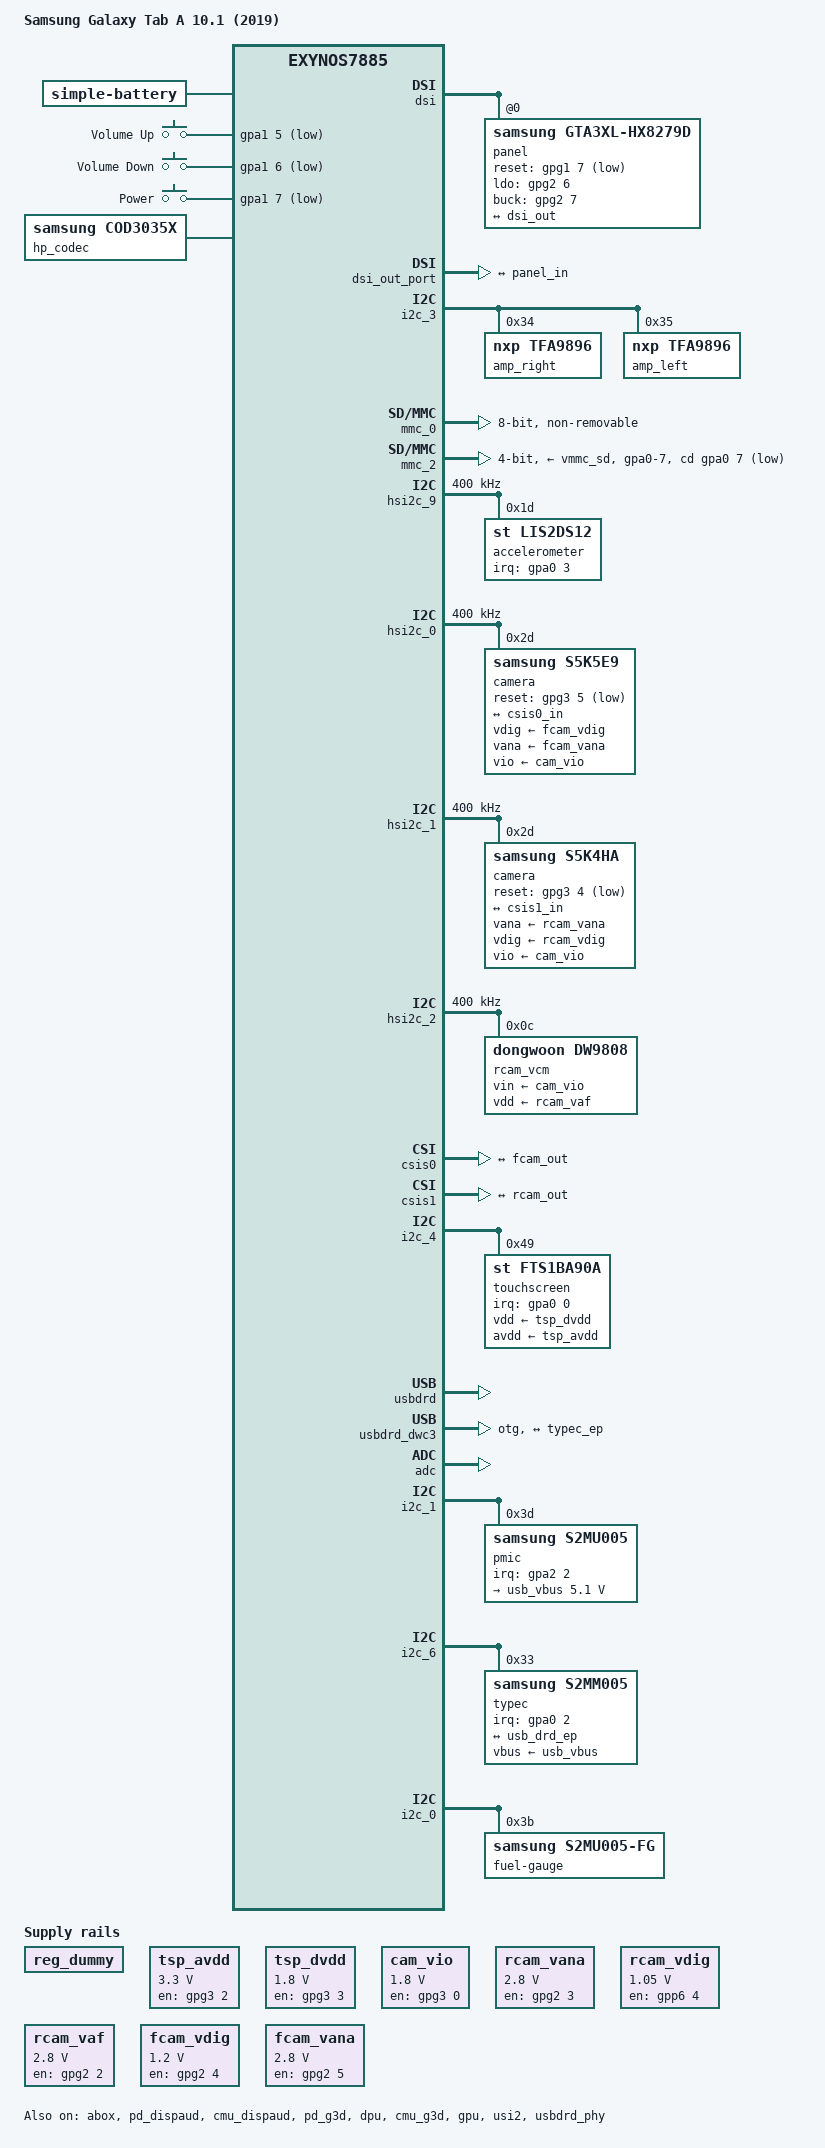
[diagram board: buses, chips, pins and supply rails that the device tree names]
// SPDX-License-Identifier: GPL-2.0
/dts-v1/;
#include "exynos7885.dtsi"
#include <dt-bindings/gpio/gpio.h>
#include <dt-bindings/input/input.h>
#include <dt-bindings/interrupt-controller/irq.h>
#include <dt-bindings/soc/samsung,exynos-usi.h>

/ {
	model = "Samsung Galaxy Tab A 10.1 (2019)";
	compatible = "samsung,t510", "samsung,exynos7885";
	chassis-type = "handset";

	aliases {
		mmc0 = &mmc_0;
		mmc2 = &mmc_2;
	};

	chosen {
		#address-cells = <2>;
		#size-cells = <1>;
		ranges;
		
		bootargs = "pmos.nosplash exynos7885.dispaud=1 cma=128M";

		/* The bootloader loads the boot.img ramdisk at 0x89000000, and
		 * uniLoader copies the kernel to 0x90000000. The archive's real
		 * size is not passed on, so give the initramfs everything up to
		 * 0x8c000000 (48 MiB): a shorter window truncates it, and /init
		 * then fails on a missing file. Bytes after the archive only log
		 * "Initramfs unpacking failed".
		 */
		linux,initrd-start = <0x89000000>;
		linux,initrd-end = <0x8c000000>;

		stdout-path = "fb0";

		fb0: framebuffer@ec000000 {
			compatible = "simple-framebuffer";
			reg = <0x0 0xec000000 (1200 * 1920 * 4)>;
			width = <1200>;
			height = <1920>;
			stride = <(1200 * 4)>;
			/* DECON ignores the alpha byte (checked on the panel), and
			 * matching X's XRGB8888 makes simpledrm's updates a memcpy.
			 */
			format = "x8r8g8b8";
		};
	};

	wifibt@120c0000 {
		compatible = "samsung,exynos7885-wifibt";
		reg = <0x0 0x120c0000 0x180>, <0x0 0x120e0000 0x180>,
		      <0x0 0x12080000 0x180>;
		reg-names = "r4", "m4", "cp";
		interrupts = <GIC_SPI 57 IRQ_TYPE_LEVEL_HIGH>,
			     <GIC_SPI 21 IRQ_TYPE_LEVEL_HIGH>,
			     <GIC_SPI 286 IRQ_TYPE_LEVEL_HIGH>;
		interrupt-names = "mbox", "alive", "watchdog";
		samsung,pmu-syscon = <&pmu_system_controller>;
		memory-region = <&wifibt_if>;
	};

	battery: battery {
		compatible = "simple-battery";
		/* 4.35 V pack; initial bring-up limits charge current to 1 A. */
		constant-charge-voltage-max-microvolt = <4350000>;
		constant-charge-current-max-microamp = <1000000>;
		charge-term-current-microamp = <200000>;
	};

	reserved-memory {
		#address-cells = <2>;
		#size-cells = <1>;
		ranges;

		/* Exynos Characteristic Table left by the bootloader: per-chip
		 * DVFS voltage tables, kept for the GPU/CPU DVFS work.
		 */
		ect@90000000 {
			reg = <0x0 0x90000000 0x19000>;
			no-map;
		};

		/* The bootloader framebuffer. The DPU keeps scanning it out
		 * after its System MMU is enabled, so it is identity-mapped.
		 */
		fb_region: framebuffer_region@ec000000 {
			reg = <0x0 0xec000000 (1200 * 1920 * 4)>;
			iommu-addresses = <&dpu 0xec000000 (1200 * 1920 * 4)>;
			no-map;
		};

		wifibt_if: memory@e9000000 {
			reg = <0x0 0xe9000000 0x400000>;
			no-map;
		};

		abox_rmem: memory@e9400000 {
			reg = <0x0 0xe9400000 0xc00000>;
			no-map;
		};

		/* 128 KiB fixed ABOX RDMA0 playback ring. */
		abox_pcm_rmem: memory@ea000000 {
			reg = <0x0 0xea000000 0x20000>;
			no-map;
		};

		ramoops@c0000000 {
                    #address-cells = <2>;
                    #size-cells = <1>;
                    compatible = "ramoops";
                    reg = <0x00000000 0xc0000000 0x00100000>; // 1MB at 0xc0000000
                    record-size = <0x10000>;  // 64KB per record
                    console-size = <0x10000>; // 64KB for console logs
                    pmsg-size = <0x1000>;     // 4KB for user messages
                };

	};
	
	/* TODO: Remove this once PMIC is implemented  */
	reg_dummy: regulator-0 {
		compatible = "regulator-fixed";
		regulator-name = "dummy_reg";
	};
	

	memory@80000000 {
		device_type = "memory";
		reg = <0x0 0x80000000 0x3bc00000>,
		      <0x0 0xc0000000 0x40000000>;
	};

	/* Same key wiring as the vendor T510 DT (and jackpotlte). */
	gpio-keys {
		compatible = "gpio-keys";
		pinctrl-names = "default";
		pinctrl-0 = <&key_volup &key_voldown &key_power>;

		volup-key {
			label = "Volume Up";
			linux,code = <KEY_VOLUMEUP>;
			gpios = <&gpa1 5 GPIO_ACTIVE_LOW>;
		};

		voldown-key {
			label = "Volume Down";
			linux,code = <KEY_VOLUMEDOWN>;
			gpios = <&gpa1 6 GPIO_ACTIVE_LOW>;
		};

		power-key {
			label = "Power";
			linux,code = <KEY_POWER>;
			gpios = <&gpa1 7 GPIO_ACTIVE_LOW>;
			wakeup-source;
		};
	};

	tsp_avdd: tsp_avdd {
		compatible = "regulator-fixed";
		regulator-name = "tsp_avdd";
		regulator-min-microvolt = <3300000>;
		regulator-max-microvolt = <3300000>;
		gpio = <&gpg3 2 GPIO_ACTIVE_HIGH>;
		enable-active-high;
		regulator-boot-on;
		startup-delay-us = <100000>;
	};

	tsp_dvdd: tsp_dvdd {
		compatible = "regulator-fixed";
		regulator-name = "tsp_dvdd";
		regulator-min-microvolt = <1800000>;
		regulator-max-microvolt = <1800000>;
		gpio = <&gpg3 3 GPIO_ACTIVE_HIGH>;
		enable-active-high;
		regulator-boot-on;
		startup-delay-us = <100000>;
	};

	/* Camera supplies, all switched by GPIOs (Samsung's power sequence) */
	cam_vio: regulator-cam-vio {
		compatible = "regulator-fixed";
		regulator-name = "cam_vio_1v8";
		regulator-min-microvolt = <1800000>;
		regulator-max-microvolt = <1800000>;
		gpio = <&gpg3 0 GPIO_ACTIVE_HIGH>;
		enable-active-high;
	};

	rcam_vana: regulator-rcam-vana {
		compatible = "regulator-fixed";
		regulator-name = "rcam_vana_2v8";
		regulator-min-microvolt = <2800000>;
		regulator-max-microvolt = <2800000>;
		gpio = <&gpg2 3 GPIO_ACTIVE_HIGH>;
		enable-active-high;
	};

	rcam_vdig: regulator-rcam-vdig {
		compatible = "regulator-fixed";
		regulator-name = "rcam_vdig";
		regulator-min-microvolt = <1050000>;
		regulator-max-microvolt = <1050000>;
		gpio = <&gpp6 4 GPIO_ACTIVE_HIGH>;
		enable-active-high;
	};

	rcam_vaf: regulator-rcam-vaf {
		compatible = "regulator-fixed";
		regulator-name = "rcam_vaf_2v8";
		regulator-min-microvolt = <2800000>;
		regulator-max-microvolt = <2800000>;
		gpio = <&gpg2 2 GPIO_ACTIVE_HIGH>;
		enable-active-high;
	};

	fcam_vdig: regulator-fcam-vdig {
		compatible = "regulator-fixed";
		regulator-name = "fcam_vdig_1v2";
		regulator-min-microvolt = <1200000>;
		regulator-max-microvolt = <1200000>;
		gpio = <&gpg2 4 GPIO_ACTIVE_HIGH>;
		enable-active-high;
	};

	fcam_vana: regulator-fcam-vana {
		compatible = "regulator-fixed";
		regulator-name = "fcam_vana_2v8";
		regulator-min-microvolt = <2800000>;
		regulator-max-microvolt = <2800000>;
		gpio = <&gpg2 5 GPIO_ACTIVE_HIGH>;
		enable-active-high;
	};
};


&abox {
	status = "okay";
	memory-region = <&abox_rmem>, <&abox_pcm_rmem>;
	/* Stock bootargs; vss=0: no modem voice buffer on this WiFi model. */
	samsung,bootargs = "init=ab0x vss=0";
	samsung,bootargs-offset = <0x22e00>;
	pinctrl-names = "active", "idle";
	pinctrl-0 = <&aud_codec_mclk &aud_codec_bus &aud_spk_bus &aud_loopback_bus>;
	pinctrl-1 = <&aud_codec_mclk_idle &aud_codec_bus_idle &aud_spk_bus_idle &aud_loopback_bus_idle>;

	abox_audio: abox-audio {
		compatible = "samsung,exynos7885-abox-audio";
		/* DAI 0: UAIF3 (speaker amps), DAI 1: UAIF0 (headphone codec) */
		#sound-dai-cells = <1>;
		status = "okay";
	};

	firmware-ap-audio {
		status = "okay";
		samsung,name = "postmarketos/AP_AUDIO_SLSI.bin";
		samsung,area = <1>;
		samsung,offset = <0x7f0000>;
	};

	firmware-ap-barge-in {
		status = "okay";
		samsung,name = "postmarketos/APBargeIn_AUDIO_SLSI.bin";
		samsung,area = <1>;
		samsung,offset = <0x7ec000>;
	};
};

/* This image opts into DISPAUD clock registration through its kernel cmdline.
 * ABOX registration and firmware execution remain separately module-gated.
 */
&pd_dispaud {
	status = "okay";
};

&cmu_dispaud {
	status = "okay";
};

&sysmmu_abox {
	status = "okay";
};

&sysmmu_dpu {
	status = "okay";
};

/* The Mali-G71 scales between the OPPs below on PLL_G3D, with vdd_g3d set
 * over ACPM. The CMU_TOP switching clock (799.5 MHz / 2) carries the GPU
 * while PLL_G3D relocks.
 */
&pd_g3d {
	status = "okay";
};

/* HX8279D panel in DSI video mode, as the bootloader programs it. */
&dpu {
	memory-region = <&fb_region>;
	status = "okay";

	panel-timing {
		/* 1400 x 1964 total at 60 Hz */
		clock-frequency = <164976000>;
		hactive = <1200>;
		vactive = <1920>;
		hfront-porch = <150>;
		hback-porch = <40>;
		hsync-len = <10>;
		vfront-porch = <22>;
		vback-porch = <18>;
		vsync-len = <4>;
	};
};

&dsi {
	status = "okay";

	panel: panel@0 {
		compatible = "samsung,gta3xl-hx8279d";
		reg = <0>;
		reset-gpios = <&gpg1 7 GPIO_ACTIVE_LOW>;
		ldo-gpios = <&gpg2 6 GPIO_ACTIVE_HIGH>;
		buck-gpios = <&gpg2 7 GPIO_ACTIVE_HIGH>;

		port {
			panel_in: endpoint {
				remote-endpoint = <&dsi_out>;
			};
		};
	};
};

&dsi_out_port {
	dsi_out: endpoint {
		remote-endpoint = <&panel_in>;
	};
};

&cmu_g3d {
	/* Set before the GPU switches onto this path. */
	assigned-clocks = <&cmu_top CLK_DOUT_G3D_SWITCH>;
	assigned-clock-rates = <399750000>;
	status = "okay";
};

&gpu {
	/*
	 * Run from PLL_G3D (left at 343 MHz by the bootloader); the switching
	 * clock stays set up for parking the GPU while the PLL relocks.
	 */
	assigned-clocks = <&cmu_g3d CLK_MOUT_G3D_SWITCH_USER>,
			  <&cmu_g3d CLK_MOUT_G3D_PLL>,
			  <&cmu_g3d CLK_MOUT_G3D_BUSD>,
			  <&cmu_g3d CLK_FOUT_G3D_PLL>;
	assigned-clock-parents = <&cmu_top CLK_DOUT_G3D_SWITCH>,
				 <&cmu_g3d CLK_FOUT_G3D_PLL>,
				 <&cmu_g3d CLK_MOUT_G3D_PLL>,
				 <0>;
	assigned-clock-rates = <0>, <0>, <0>, <343000000>;
	mali-supply = <&vdd_g3d>;
	operating-points-v2 = <&gpu_opp_table>;
	status = "okay";
};

/*
 * CPU DVFS levels from the bootloader's ECT. Voltages are this chip's:
 * ASV group 7, the highest over all ECT table versions plus 25 mV, as for
 * the GPU. Both A53 clusters share BUCK3, so their levels give a range up
 * to the rail's limit and the regulator follows the higher request.
 *
 * A level change restarts the cluster PLL and sends the voltage over ACPM,
 * whose firmware may take up to 2 ms to answer. The latency also sets the
 * schedutil rate limit (1.5 times it); at 100 us the A53s changed level
 * about 200 times a second under desktop load.
 */
/ {
	cpucl0_opp_table: opp-table-cpucl0 {
		compatible = "operating-points-v2";
		opp-shared;

		opp-936000000 {
			opp-hz = /bits/ 64 <936000000>;
			opp-microvolt = <750000 750000 1050000>;
			clock-latency-ns = <2000000>;
		};

		opp-1144000000 {
			opp-hz = /bits/ 64 <1144000000>;
			opp-microvolt = <806250 806250 1050000>;
			clock-latency-ns = <2000000>;
		};

		opp-1352000000 {
			opp-hz = /bits/ 64 <1352000000>;
			opp-microvolt = <875000 875000 1050000>;
			clock-latency-ns = <2000000>;
		};

		opp-1560000000 {
			opp-hz = /bits/ 64 <1560000000>;
			opp-microvolt = <943750 943750 1050000>;
			clock-latency-ns = <2000000>;
		};

		opp-1664000000 {
			opp-hz = /bits/ 64 <1664000000>;
			opp-microvolt = <987500 987500 1050000>;
			clock-latency-ns = <2000000>;
		};

		opp-1768000000 {
			opp-hz = /bits/ 64 <1768000000>;
			opp-microvolt = <1031250 1031250 1050000>;
			clock-latency-ns = <2000000>;
		};
	};

	cpucl1_opp_table: opp-table-cpucl1 {
		compatible = "operating-points-v2";
		opp-shared;

		opp-546000000 {
			opp-hz = /bits/ 64 <546000000>;
			opp-microvolt = <687500 687500 1050000>;
			clock-latency-ns = <2000000>;
		};

		opp-676000000 {
			opp-hz = /bits/ 64 <676000000>;
			opp-microvolt = <725000 725000 1050000>;
			clock-latency-ns = <2000000>;
		};

		opp-1014000000 {
			opp-hz = /bits/ 64 <1014000000>;
			opp-microvolt = <818750 818750 1050000>;
			clock-latency-ns = <2000000>;
		};

		opp-1144000000 {
			opp-hz = /bits/ 64 <1144000000>;
			opp-microvolt = <862500 862500 1050000>;
			clock-latency-ns = <2000000>;
		};

		opp-1248000000 {
			opp-hz = /bits/ 64 <1248000000>;
			opp-microvolt = <900000 900000 1050000>;
			clock-latency-ns = <2000000>;
		};

		opp-1352000000 {
			opp-hz = /bits/ 64 <1352000000>;
			opp-microvolt = <925000 925000 1050000>;
			clock-latency-ns = <2000000>;
		};

		opp-1482000000 {
			opp-hz = /bits/ 64 <1482000000>;
			opp-microvolt = <981250 981250 1050000>;
			clock-latency-ns = <2000000>;
		};

		opp-1586000000 {
			opp-hz = /bits/ 64 <1586000000>;
			opp-microvolt = <1037500 1037500 1050000>;
			clock-latency-ns = <2000000>;
		};
	};

	cpucl2_opp_table: opp-table-cpucl2 {
		compatible = "operating-points-v2";
		opp-shared;

		opp-546000000 {
			opp-hz = /bits/ 64 <546000000>;
			opp-microvolt = <687500 687500 1050000>;
			clock-latency-ns = <2000000>;
		};

		opp-676000000 {
			opp-hz = /bits/ 64 <676000000>;
			opp-microvolt = <725000 725000 1050000>;
			clock-latency-ns = <2000000>;
		};

		opp-1014000000 {
			opp-hz = /bits/ 64 <1014000000>;
			opp-microvolt = <818750 818750 1050000>;
			clock-latency-ns = <2000000>;
		};

		opp-1144000000 {
			opp-hz = /bits/ 64 <1144000000>;
			opp-microvolt = <862500 862500 1050000>;
			clock-latency-ns = <2000000>;
		};

		opp-1248000000 {
			opp-hz = /bits/ 64 <1248000000>;
			opp-microvolt = <900000 900000 1050000>;
			clock-latency-ns = <2000000>;
		};

		opp-1352000000 {
			opp-hz = /bits/ 64 <1352000000>;
			opp-microvolt = <925000 925000 1050000>;
			clock-latency-ns = <2000000>;
		};

		opp-1482000000 {
			opp-hz = /bits/ 64 <1482000000>;
			opp-microvolt = <981250 981250 1050000>;
			clock-latency-ns = <2000000>;
		};

		opp-1586000000 {
			opp-hz = /bits/ 64 <1586000000>;
			opp-microvolt = <1037500 1037500 1050000>;
			clock-latency-ns = <2000000>;
		};
	};

	/* S2MPU08 BUCK2 and BUCK3, voltage set over ACPM */
	vdd_cpucl0: regulator-vdd-cpucl0 {
		compatible = "samsung,s2mpu08-acpm-buck2";
		samsung,acpm-ipc = <&acpm_ipc 2>;
		regulator-name = "vdd_cpucl0";
		regulator-min-microvolt = <700000>;
		regulator-max-microvolt = <1050000>;
	};

	vdd_cpucl12: regulator-vdd-cpucl12 {
		compatible = "samsung,s2mpu08-acpm-buck3";
		samsung,acpm-ipc = <&acpm_ipc 2>;
		regulator-name = "vdd_cpucl12";
		regulator-min-microvolt = <650000>;
		regulator-max-microvolt = <1050000>;
	};

	/* S2MPU08 LDO35 and LDO2, the SD card and SD card I/O supplies */
	vmmc_sd: regulator-vmmc-sd {
		compatible = "samsung,s2mpu08-acpm-ldo35";
		samsung,acpm-ipc = <&acpm_ipc 2>;
		regulator-name = "vmmc_sd";
		regulator-min-microvolt = <3300000>;
		regulator-max-microvolt = <3300000>;
	};

	vqmmc_sd: regulator-vqmmc-sd {
		compatible = "samsung,s2mpu08-acpm-ldo2";
		samsung,acpm-ipc = <&acpm_ipc 2>;
		regulator-name = "vqmmc_sd";
		regulator-min-microvolt = <1800000>;
		regulator-max-microvolt = <3300000>;
	};
};

&cpu0 {
	cpu-supply = <&vdd_cpucl12>;
	operating-points-v2 = <&cpucl1_opp_table>;
};

&cpu1 {
	cpu-supply = <&vdd_cpucl12>;
	operating-points-v2 = <&cpucl1_opp_table>;
};

&cpu2 {
	cpu-supply = <&vdd_cpucl12>;
	operating-points-v2 = <&cpucl1_opp_table>;
};

&cpu3 {
	cpu-supply = <&vdd_cpucl12>;
	operating-points-v2 = <&cpucl1_opp_table>;
};

&cpu4 {
	cpu-supply = <&vdd_cpucl12>;
	operating-points-v2 = <&cpucl2_opp_table>;
};

&cpu5 {
	cpu-supply = <&vdd_cpucl12>;
	operating-points-v2 = <&cpucl2_opp_table>;
};

&cpu6 {
	cpu-supply = <&vdd_cpucl0>;
	operating-points-v2 = <&cpucl0_opp_table>;
};

&cpu7 {
	cpu-supply = <&vdd_cpucl0>;
	operating-points-v2 = <&cpucl0_opp_table>;
};

/*
 * While a cluster PLL relocks, run the cluster from the CMU_TOP switching
 * clock instead of the 26 MHz oscillator. Each rate stays below the
 * cluster's lowest OPP, so the voltage set for either level covers it:
 * 533 MHz (PLL_SHARED0 / 3) for the A73s, as the vendor DVFS uses, and
 * 399.75 MHz (SHARED0_DIV2 / 2) for the A53s.
 */
&cmu_cpucl0 {
	assigned-clocks = <&cmu_top CLK_DOUT_CPUCL0_SWITCH>,
			  <&cmu_cpucl0 CLK_MOUT_CPUCL_SWITCH_USER>;
	assigned-clock-parents = <0>, <&cmu_top CLK_DOUT_CPUCL0_SWITCH>;
	assigned-clock-rates = <533000000>, <0>;
};

&cmu_cpucl1 {
	assigned-clocks = <&cmu_top CLK_DOUT_CPUCL1_SWITCH>,
			  <&cmu_cpucl1 CLK_MOUT_CPUCL_SWITCH_USER>;
	assigned-clock-parents = <0>, <&cmu_top CLK_DOUT_CPUCL1_SWITCH>;
	assigned-clock-rates = <399750000>, <0>;
};

&cmu_cpucl2 {
	assigned-clocks = <&cmu_top CLK_DOUT_CPUCL2_SWITCH>,
			  <&cmu_cpucl2 CLK_MOUT_CPUCL_SWITCH_USER>;
	assigned-clock-parents = <0>, <&cmu_top CLK_DOUT_CPUCL2_SWITCH>;
	assigned-clock-rates = <399750000>, <0>;
};

/*
 * GPU DVFS levels from the bootloader's ECT (PLL_G3D settings). Voltages
 * are this chip's: ASV group 7, the highest over all ECT table versions
 * plus 25 mV. Until the buck base was fixed these were set 200 mV lower,
 * where 845 MHz faulted; at 875 mV it ran 6 minutes of GL and Vulkan load
 * without faults.
 */
/ {
	gpu_opp_table: opp-table-gpu {
		compatible = "operating-points-v2";

		opp-343000000 {
			opp-hz = /bits/ 64 <343000000>;
			opp-microvolt = <787500>;
		};

		opp-450000000 {
			opp-hz = /bits/ 64 <450000000>;
			opp-microvolt = <812500>;
		};

		opp-545000000 {
			opp-hz = /bits/ 64 <545000000>;
			opp-microvolt = <831250>;
		};

		opp-676000000 {
			opp-hz = /bits/ 64 <676000000>;
			opp-microvolt = <856250>;
		};

		opp-845000000 {
			opp-hz = /bits/ 64 <845000000>;
			opp-microvolt = <875000>;
		};
	};

	/* S2MPU08 BUCK5, voltage set over ACPM; the PMU switches it on/off. */
	vdd_g3d: regulator-vdd-g3d {
		compatible = "samsung,s2mpu08-acpm-buck5";
		samsung,acpm-ipc = <&acpm_ipc 2>;
		regulator-name = "vdd_g3d";
		regulator-min-microvolt = <750000>;
		regulator-max-microvolt = <900000>;
	};
};


/* Revision 4+ tablets have two TFA9896 speaker amplifiers on I2C3.
 * Their driver probes read revision only; playback uses vendor CHSA=0 setup.
 */
&i2c_3 {
	status = "okay";

	amp_right: audio-codec@34 {
		compatible = "nxp,tfa9896";
		reg = <0x34>;
		#sound-dai-cells = <0>;
		sound-name-prefix = "Right Speaker";
		status = "okay";
	};

	amp_left: audio-codec@35 {
		compatible = "nxp,tfa9896";
		reg = <0x35>;
		#sound-dai-cells = <0>;
		sound-name-prefix = "Left Speaker";
		status = "okay";
	};
};

/* ABOX firmware execution remains separately opt-in at module load. */
/ {
	gta3xlwifi_audio: sound {
		compatible = "samsung,exynos7885-gta3xlwifi-audio";
		model = "Samsung Galaxy Tab A 10.1 Speaker";
		status = "okay";
		/* The only built-in microphone is on codec input 1, biased by MICBIAS1. */
		audio-routing = "Speaker", "Right Speaker OUT",
				"Speaker", "Left Speaker OUT",
				"Headphone", "HPOUT",
				"IN1L", "Main Mic",
				"Main Mic", "MICBIAS1";

		cpu {
			sound-dai = <&abox_audio 0>;
		};

		codecs {
			sound-dai = <&amp_right>, <&amp_left>;
		};

		headphone {
			cpu {
				sound-dai = <&abox_audio 1>;
			};

			codec {
				sound-dai = <&hp_codec>;
			};
		};

		microphone {
			cpu {
				sound-dai = <&abox_audio 2>;
			};

			codec {
				sound-dai = <&hp_codec>;
			};
		};
	};

	/* Headphone codec in the S2MPU08 package, reached through ACPM. */
	hp_codec: audio-codec {
		compatible = "samsung,cod3035x";
		samsung,acpm-ipc = <&acpm_ipc 2>;
		/* ABOX drives the codec MCLK pin (gpb0-0) from UAIF2. */
		clocks = <&abox>;
		clock-names = "mclk";
		#sound-dai-cells = <0>;
	};
};

&mmc_0 {
	status = "okay";
	broken-cd;
	mmc-hs200-1_8v;
	mmc-hs400-1_8v;
	cap-mmc-highspeed;
	non-removable;
	mmc-hs400-enhanced-strobe;
	card-detect-delay = <200>;
	clock-frequency = <800000000>;
	bus-width = <8>;
	samsung,dw-mshc-ciu-div = <3>;
	samsung,dw-mshc-sdr-timing = <0 4>;
	samsung,dw-mshc-ddr-timing = <2 4>;
	samsung,dw-mshc-hs400-timing = <0 2>;

	pinctrl-names = "default",
		"fast-slew-rate-1x",
		"fast-slew-rate-2x",
		"fast-slew-rate-3x",
		"fast-slew-rate-4x";
	pinctrl-0 = <&sd0_clk &sd0_cmd &sd0_rdqs &sd0_bus1 &sd0_bus4 &sd0_bus8>;
	pinctrl-1 = <&sd0_clk_fast_slew_rate_1x>;
	pinctrl-2 = <&sd0_clk_fast_slew_rate_2x>;
	pinctrl-3 = <&sd0_clk_fast_slew_rate_3x>;
	pinctrl-4 = <&sd0_clk_fast_slew_rate_4x>;
};

/*
 * microSD slot; the card is present when gpa0-7 is low. UHS cards switch
 * their I/O to 1.8 V (vqmmc, LDO2); the sample phase is tuned for SDR50
 * and SDR104.
 */
&mmc_2 {
	status = "okay";
	bus-width = <4>;
	cap-sd-highspeed;
	sd-uhs-sdr12;
	sd-uhs-sdr25;
	sd-uhs-sdr50;
	sd-uhs-sdr104;
	disable-wp;
	cd-gpios = <&gpa0 7 GPIO_ACTIVE_LOW>;
	card-detect-delay = <200>;
	vmmc-supply = <&vmmc_sd>;
	vqmmc-supply = <&vqmmc_sd>;
	clock-frequency = <800000000>;
	samsung,dw-mshc-ciu-div = <3>;
	samsung,dw-mshc-sdr-timing = <0 2>;
	samsung,dw-mshc-ddr-timing = <1 2>;

	pinctrl-names = "default";
	pinctrl-0 = <&sd2_clk &sd2_cmd &sd2_bus1 &sd2_bus4 &sd2_cd>;
};

&pinctrl_alive {
        attn_irq: attn-irq {
		samsung,pins = "gpa0-0";
		samsung,pin-function = <0xf>;
		samsung,pin-pud = <0>;
		samsung,pin-drv = <0>;
	};

	attn_input: attn-input {
		samsung,pins = "gpa0-0";
		samsung,pin-function = <0>;
		samsung,pin-pud = <0>;
	};

	key_volup: key-volup-pins {
		samsung,pins = "gpa1-5";
		samsung,pin-function = <EXYNOS_PIN_FUNC_EINT>;
		samsung,pin-pud = <EXYNOS_PIN_PULL_NONE>;
		samsung,pin-drv = <EXYNOS5420_PIN_DRV_LV1>;
	};

	key_voldown: key-voldown-pins {
		samsung,pins = "gpa1-6";
		samsung,pin-function = <EXYNOS_PIN_FUNC_EINT>;
		samsung,pin-pud = <EXYNOS_PIN_PULL_NONE>;
		samsung,pin-drv = <EXYNOS5420_PIN_DRV_LV1>;
	};

	sd2_cd: sd2-cd-pins {
		samsung,pins = "gpa0-7";
		samsung,pin-function = <EXYNOS_PIN_FUNC_EINT>;
		samsung,pin-pud = <EXYNOS_PIN_PULL_NONE>;
		samsung,pin-drv = <EXYNOS5420_PIN_DRV_LV1>;
	};

	key_power: key-power-pins {
		samsung,pins = "gpa1-7";
		samsung,pin-function = <EXYNOS_PIN_FUNC_EINT>;
		samsung,pin-pud = <EXYNOS_PIN_PULL_NONE>;
		samsung,pin-drv = <EXYNOS5420_PIN_DRV_LV1>;
	};

	acc_int: acc-int-pins {
		samsung,pins = "gpa0-3";
		samsung,pin-function = <EXYNOS_PIN_FUNC_EINT>;
		samsung,pin-pud = <EXYNOS_PIN_PULL_NONE>;
		samsung,pin-drv = <EXYNOS5420_PIN_DRV_LV1>;
	};
};

/* USI2 runs its second channel only, as I2C for the accelerometer. */
&usi2 {
	samsung,mode = <USI_MODE_I2C1>;
	status = "okay";
};

&hsi2c_9 {
	clock-frequency = <400000>;
	status = "okay";

	accelerometer@1d {
		compatible = "st,lis2ds12";
		reg = <0x1d>;
		interrupt-parent = <&gpa0>;
		/*
		 * Level, not edge: the data-ready line stays high while a sample
		 * is unread, so a missed edge stalls an edge-triggered buffer.
		 */
		interrupts = <3 IRQ_TYPE_LEVEL_HIGH>;
		pinctrl-names = "default";
		pinctrl-0 = <&acc_int>;
		/*
		 * Portrait panel frame as iio-sensor-proxy reads it (x > 0 left
		 * edge up, y > 0 bottom up, z > 0 face up): the vendor
		 * st,orientation turned by 180 degrees about z.
		 */
		mount-matrix = "0", "-1", "0",
			       "1", "0", "0",
			       "0", "0", "-1";
	};
};

&pinctrl_top {
	cam_mclk0: cam-mclk0-pins {
		samsung,pins = "gpc0-0";
		samsung,pin-function = <EXYNOS_PIN_FUNC_2>;
		samsung,pin-pud = <EXYNOS_PIN_PULL_NONE>;
		samsung,pin-drv = <EXYNOS5420_PIN_DRV_LV3>;
	};

	cam_mclk1: cam-mclk1-pins {
		samsung,pins = "gpc0-1";
		samsung,pin-function = <EXYNOS_PIN_FUNC_2>;
		samsung,pin-pud = <EXYNOS_PIN_PULL_NONE>;
		samsung,pin-drv = <EXYNOS5420_PIN_DRV_LV3>;
	};
};

/* Front camera */
&hsi2c_0 {
	clock-frequency = <400000>;
	status = "okay";

	camera@2d {
		compatible = "samsung,s5k5e9";
		reg = <0x2d>;
		clocks = <&cmu_top CLK_DOUT_CIS_CLK1>;
		pinctrl-names = "default";
		pinctrl-0 = <&cam_mclk1>;
		reset-gpios = <&gpg3 5 GPIO_ACTIVE_LOW>;
		vdig-supply = <&fcam_vdig>;
		vana-supply = <&fcam_vana>;
		vio-supply = <&cam_vio>;
		orientation = <0>;
		/* Images are upright with the right edge of the panel up. */
		rotation = <90>;

		port {
			fcam_out: endpoint {
				remote-endpoint = <&csis0_in>;
				data-lanes = <1 2>;
				link-frequencies = /bits/ 64 <468000000>;
			};
		};
	};
};

/* Rear camera */
&hsi2c_1 {
	clock-frequency = <400000>;
	status = "okay";

	camera@2d {
		compatible = "samsung,s5k4ha";
		reg = <0x2d>;
		clocks = <&cmu_top CLK_DOUT_CIS_CLK0>;
		pinctrl-names = "default";
		pinctrl-0 = <&cam_mclk0>;
		reset-gpios = <&gpg3 4 GPIO_ACTIVE_LOW>;
		vana-supply = <&rcam_vana>;
		vdig-supply = <&rcam_vdig>;
		vio-supply = <&cam_vio>;
		orientation = <1>;
		/* Images are upright with the right edge of the panel up. */
		rotation = <270>;
		lens-focus = <&rcam_vcm>;

		port {
			rcam_out: endpoint {
				remote-endpoint = <&csis1_in>;
				data-lanes = <1 2 3 4>;
				link-frequencies = /bits/ 64 <335400000>;
			};
		};
	};
};

/* Rear camera focus motor; its bus pull-ups hang off cam_vio */
&hsi2c_2 {
	clock-frequency = <400000>;
	status = "okay";

	rcam_vcm: camera-lens@c {
		compatible = "dongwoon,dw9808", "dongwoon,dw9768";
		reg = <0x0c>;
		vin-supply = <&cam_vio>;
		vdd-supply = <&rcam_vaf>;
		/* Samsung's settings: SAC3 (mode 0x61), Tvib 6.3 ms + 5.4 ms */
		dongwoon,aac-mode = <3>;
		dongwoon,clock-presc = <1>;
		dongwoon,aac-timing = <0x36>;
	};
};

&csis0 {
	status = "okay";

	port {
		csis0_in: endpoint {
			remote-endpoint = <&fcam_out>;
			data-lanes = <1 2>;
		};
	};
};

&csis1 {
	status = "okay";

	port {
		csis1_in: endpoint {
			remote-endpoint = <&rcam_out>;
			data-lanes = <1 2 3 4>;
		};
	};
};

&i2c_4 {
	#address-cells = <1>;
	#size-cells = <0>;

	status = "okay";
	samsung,i2c-sda-delay = <100>;
	samsung,i2c-max-bus-freq = <400000>;

	touchscreen@49 {
		compatible = "st,fts1ba90a";
		reg = <0x49>;
		interrupt-parent = <&gpa0>;
		interrupts = <0 IRQ_TYPE_LEVEL_LOW>;
		pinctrl-names = "default", "sleep";
		pinctrl-0 = <&attn_irq>;
		pinctrl-1 = <&attn_input>;
		vdd-supply = <&tsp_dvdd>;
		avdd-supply = <&tsp_avdd>;
		panel = <&panel>;
		/*
		 * Probe without waiting for the panel driver, which loads
		 * from the root filesystem: the FDE unlock screen needs touch.
		 */
		post-init-providers = <&panel>;
		touchscreen-size-x = <1200>;
		touchscreen-size-y = <1920>;
		wakeup-source;
	};
};

&oscclk {
	clock-frequency = <26000000>;
};


&usbdrd {
	status = "okay";
	vdd10-supply = <&reg_dummy>;
	vdd33-supply = <&reg_dummy>;
};

&usbdrd_dwc3 {
	dr_mode = "otg";
	usb-role-switch;
	role-switch-default-mode = "peripheral";
	maximum-speed = "high-speed";
	usb-psy-name = "s2mu005-charger";
	snps,quirk-frame-length-adjustment = <0x20>;

	port {
		usb_drd_ep: endpoint {
			remote-endpoint = <&typec_ep>;
		};
	};
};

&usbdrd_phy {
	status = "okay";
};

/* ADC channel 1 is the battery NTC, not the fuel-gauge die sensor. */
&adc {
	status = "okay";
	vdd-supply = <&reg_dummy>;
};

&pinctrl_alive {
	ccic_irq: ccic-irq {
		samsung,pins = "gpa0-2";
		samsung,pin-function = <0xf>;
		samsung,pin-pud = <3>;
	};

	if_pmic_irq: if-pmic-irq {
		samsung,pins = "gpa2-2";
		samsung,pin-function = <0xf>;
		samsung,pin-pud = <0>;
	};
};

&i2c_1 {
	status = "okay";

	pmic@3d {
		compatible = "samsung,s2mu005";
		reg = <0x3d>;
		interrupt-parent = <&gpa2>;
		interrupts = <2 IRQ_TYPE_LEVEL_LOW>;
		pinctrl-names = "default";
		pinctrl-0 = <&if_pmic_irq>;

		usb_mux: mux-controller {
			compatible = "samsung,s2mu005-mux";
			#mux-control-cells = <0>;
		};

		charger {
			compatible = "samsung,s2mu005-charger";
			samsung,usb-port = <&typec>;
			monitored-battery = <&battery>;
			io-channels = <&adc 1>;
			io-channel-names = "battery-temperature";
			/* Stop at 50/0 C; recover at 45/5 C (Samsung NTC table). */
			samsung,temperature-adc-limits = <1052 1220 2964 3166>;

			usb_vbus: vbus {
				regulator-name = "usb-vbus";
				regulator-min-microvolt = <5100000>;
				regulator-max-microvolt = <5100000>;
			};
		};
	};
};

&i2c_6 {
	status = "okay";
	samsung,i2c-max-bus-freq = <400000>;

	typec: typec@33 {
		compatible = "samsung,s2mm005";
		reg = <0x33>;
		interrupt-parent = <&gpa0>;
		interrupts = <2 IRQ_TYPE_LEVEL_LOW>;
		pinctrl-names = "default";
		pinctrl-0 = <&ccic_irq>;
		vbus-supply = <&usb_vbus>;
		mux-controls = <&usb_mux>;
		mux-control-names = "usb";
		wakeup-source;

		connector {
			compatible = "usb-c-connector";
			label = "USB-C";
			power-role = "dual";
			data-role = "dual";

			port {
				typec_ep: endpoint {
					remote-endpoint = <&usb_drd_ep>;
				};
			};
		};
	};
};

&i2c_0 {
	status = "okay";

	fuel-gauge@3b {
		compatible = "samsung,s2mu005-fg";
		reg = <0x3b>;
	};
};
